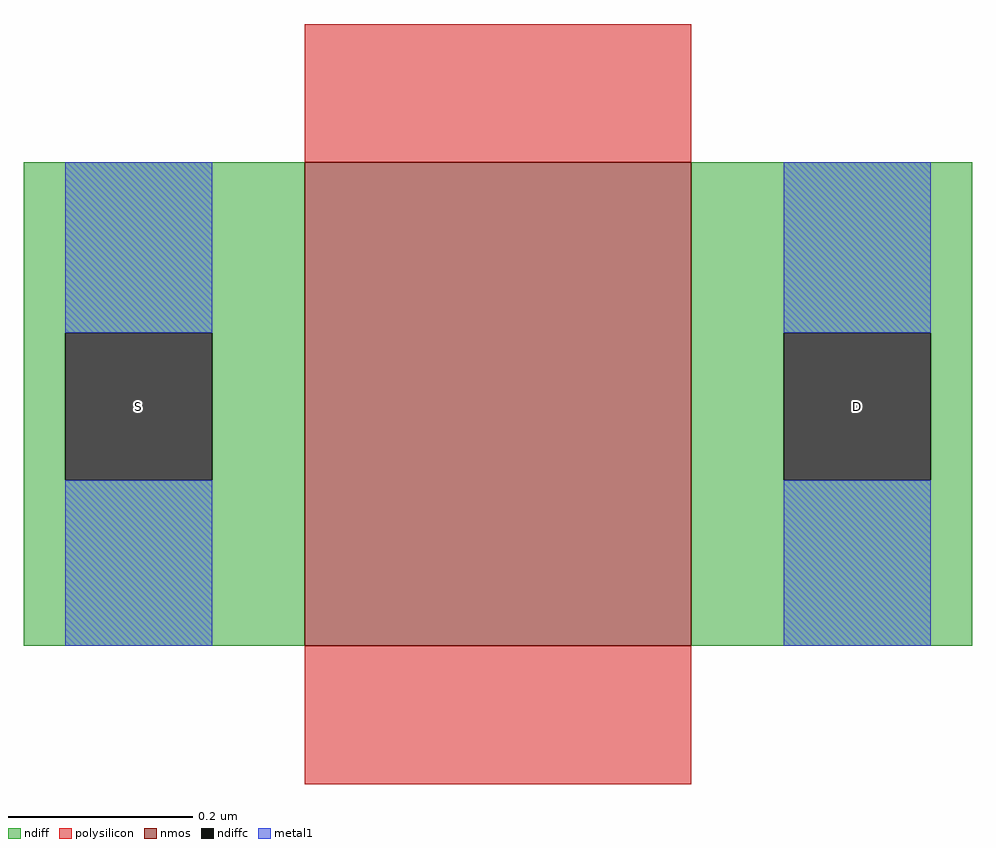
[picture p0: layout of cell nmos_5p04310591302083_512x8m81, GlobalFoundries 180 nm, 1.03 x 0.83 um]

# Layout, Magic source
magic
tech gf180mcuD
magscale 1 10
<< nmos >>
rect 0 0 84 105
<< ndiff >>
rect -61 68 0 105
rect -61 36 -52 68
rect -20 36 0 68
rect -61 0 0 36
rect 84 68 145 105
rect 84 36 104 68
rect 136 36 145 68
rect 84 0 145 36
<< ndiffc >>
rect -52 36 -20 68
rect 104 36 136 68
<< polysilicon >>
rect 0 105 84 135
rect 0 -30 84 0
<< metal1 >>
rect -52 68 -20 105
rect -52 0 -20 36
rect 104 68 136 105
rect 104 0 136 36
<< labels >>
flabel ndiffc -36 52 -36 52 0 FreeSans 140 0 0 0 S
flabel ndiffc 120 52 120 52 0 FreeSans 140 0 0 0 D
<< end >>
